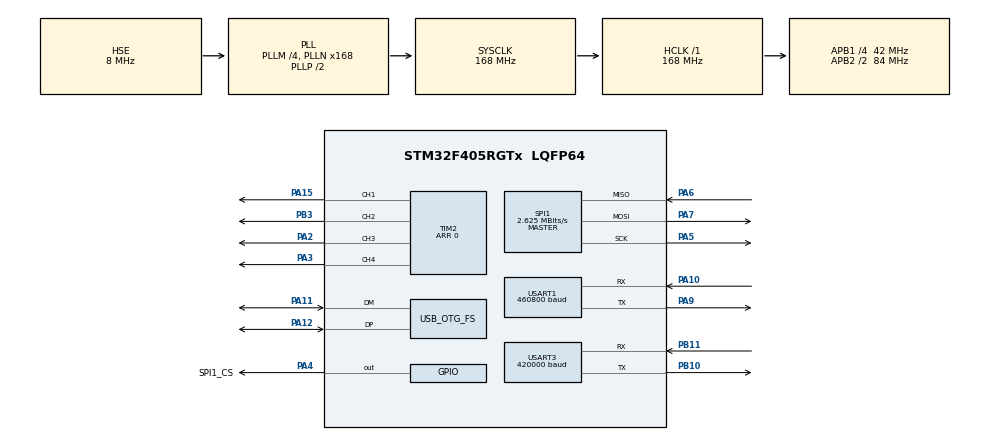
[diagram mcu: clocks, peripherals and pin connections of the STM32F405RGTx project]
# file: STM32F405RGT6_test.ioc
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Dma.Request0=USART1_RX
Dma.Request1=USART1_TX
Dma.Request2=USART3_RX
Dma.Request3=USART3_TX
Dma.USART1_RX.0.Direction=DMA_PERIPH_TO_MEMORY
Dma.USART1_RX.0.FIFOMode=DMA_FIFOMODE_DISABLE
Dma.USART1_RX.0.Instance=DMA2_Stream2
Dma.USART1_RX.0.MemDataAlignment=DMA_MDATAALIGN_BYTE
Dma.USART1_RX.0.MemInc=DMA_MINC_ENABLE
Dma.USART1_RX.0.Mode=DMA_CIRCULAR
Dma.USART1_RX.0.PeriphDataAlignment=DMA_PDATAALIGN_BYTE
Dma.USART1_RX.0.PeriphInc=DMA_PINC_DISABLE
Dma.USART1_RX.0.Priority=DMA_PRIORITY_LOW
Dma.USART1_TX.1.Direction=DMA_MEMORY_TO_PERIPH
Dma.USART1_TX.1.FIFOMode=DMA_FIFOMODE_DISABLE
Dma.USART1_TX.1.Instance=DMA2_Stream7
Dma.USART1_TX.1.MemDataAlignment=DMA_MDATAALIGN_BYTE
Dma.USART1_TX.1.MemInc=DMA_MINC_ENABLE
Dma.USART1_TX.1.Mode=DMA_NORMAL
Dma.USART1_TX.1.PeriphDataAlignment=DMA_PDATAALIGN_BYTE
Dma.USART1_TX.1.PeriphInc=DMA_PINC_DISABLE
Dma.USART1_TX.1.Priority=DMA_PRIORITY_LOW
Dma.USART3_RX.2.Direction=DMA_PERIPH_TO_MEMORY
Dma.USART3_RX.2.FIFOMode=DMA_FIFOMODE_DISABLE
Dma.USART3_RX.2.Instance=DMA1_Stream1
Dma.USART3_RX.2.MemDataAlignment=DMA_MDATAALIGN_BYTE
Dma.USART3_RX.2.MemInc=DMA_MINC_ENABLE
Dma.USART3_RX.2.Mode=DMA_CIRCULAR
Dma.USART3_RX.2.PeriphDataAlignment=DMA_PDATAALIGN_BYTE
Dma.USART3_RX.2.PeriphInc=DMA_PINC_DISABLE
Dma.USART3_RX.2.Priority=DMA_PRIORITY_LOW
Dma.USART3_TX.3.Direction=DMA_MEMORY_TO_PERIPH
Dma.USART3_TX.3.FIFOMode=DMA_FIFOMODE_DISABLE
Dma.USART3_TX.3.Instance=DMA1_Stream3
Dma.USART3_TX.3.MemDataAlignment=DMA_MDATAALIGN_BYTE
Dma.USART3_TX.3.MemInc=DMA_MINC_ENABLE
Dma.USART3_TX.3.Mode=DMA_NORMAL
Dma.USART3_TX.3.PeriphDataAlignment=DMA_PDATAALIGN_BYTE
Dma.USART3_TX.3.PeriphInc=DMA_PINC_DISABLE
Dma.USART3_TX.3.Priority=DMA_PRIORITY_LOW
FREERTOS.HEAP_NUMBER=4
FREERTOS.Tasks01=defaultTask,24,2048,StartDefaultTask,Default,NULL,Static,defaultTaskBuffer,defaultTaskControlBlock
FREERTOS.configCHECK_FOR_STACK_OVERFLOW=2
FREERTOS.configENABLE_FPU=1
FREERTOS.configMAX_TASK_NAME_LEN=64
FREERTOS.configTOTAL_HEAP_SIZE=15360
FREERTOS.configUSE_NEWLIB_REENTRANT=1
Mcu.Family=STM32F4
Mcu.Name=STM32F405RGTx
Mcu.Package=LQFP64
NVIC.DMA1_Stream1_IRQn=true\:5\:0\:false\:false\:true\:true\:false\:true\:true
NVIC.DMA1_Stream3_IRQn=true\:5\:0\:false\:false\:true\:true\:false\:true\:true
NVIC.DMA2_Stream2_IRQn=true\:5\:0\:false\:false\:true\:true\:false\:true\:true
NVIC.DMA2_Stream7_IRQn=true\:5\:0\:false\:false\:true\:true\:false\:true\:true
NVIC.OTG_FS_IRQn=true\:5\:0\:false\:false\:true\:true\:false\:true\:true
NVIC.PriorityGroup=NVIC_PRIORITYGROUP_4
NVIC.TIM4_IRQn=true\:5\:0\:false\:false\:true\:true\:true\:true\:true
NVIC.TIM6_DAC_IRQn=true\:15\:0\:false\:false\:true\:false\:false\:true\:true
NVIC.TimeBase=TIM6_DAC_IRQn
NVIC.TimeBaseIP=TIM6
NVIC.USART1_IRQn=true\:5\:0\:false\:false\:true\:true\:true\:true\:true
NVIC.USART3_IRQn=true\:5\:0\:false\:false\:true\:true\:true\:true\:true
PA10.Mode=Asynchronous
PA10.Signal=USART1_RX
PA11.Mode=Device_Only
PA11.Signal=USB_OTG_FS_DM
PA12.Mode=Device_Only
PA12.Signal=USB_OTG_FS_DP
PA15.GPIO_Speed=GPIO_SPEED_FREQ_MEDIUM
PA15.Signal=S_TIM2_CH1_ETR
PA2.GPIO_Speed=GPIO_SPEED_FREQ_MEDIUM
PA2.Signal=S_TIM2_CH3
PA3.GPIO_Speed=GPIO_SPEED_FREQ_MEDIUM
PA3.Signal=S_TIM2_CH4
PA4.GPIO_Label=SPI1_CS
PA4.Signal=GPIO_Output
PA5.Mode=Full_Duplex_Master
PA5.Signal=SPI1_SCK
PA6.Mode=Full_Duplex_Master
PA6.Signal=SPI1_MISO
PA7.Mode=Full_Duplex_Master
PA7.Signal=SPI1_MOSI
PA9.Mode=Asynchronous
PA9.Signal=USART1_TX
PB10.Mode=Asynchronous
PB10.Signal=USART3_TX
PB11.Mode=Asynchronous
PB11.Signal=USART3_RX
PB3.GPIO_Speed=GPIO_SPEED_FREQ_MEDIUM
PB3.Signal=S_TIM2_CH2
PC14-OSC32_IN.Mode=LSE-External-Oscillator
PC14-OSC32_IN.Signal=RCC_OSC32_IN
PC15-OSC32_OUT.Mode=LSE-External-Oscillator
PC15-OSC32_OUT.Signal=RCC_OSC32_OUT
PH0-OSC_IN.Mode=HSE-External-Oscillator
PH0-OSC_IN.Signal=RCC_OSC_IN
PH1-OSC_OUT.Mode=HSE-External-Oscillator
PH1-OSC_OUT.Signal=RCC_OSC_OUT
ProjectManager.HeapSize=0x200
ProjectManager.StackSize=0x400
ProjectManager.TargetToolchain=STM32CubeIDE
RCC.48MHZClocksFreq_Value=48000000
RCC.AHBFreq_Value=168000000
RCC.APB1CLKDivider=RCC_HCLK_DIV4
RCC.APB1Freq_Value=42000000
RCC.APB1TimFreq_Value=84000000
RCC.APB2CLKDivider=RCC_HCLK_DIV2
RCC.APB2Freq_Value=84000000
RCC.APB2TimFreq_Value=168000000
RCC.CortexFreq_Value=168000000
RCC.HCLKFreq_Value=168000000
RCC.HSE_VALUE=8000000
RCC.HSI_VALUE=16000000
RCC.PLLM=4
RCC.PLLN=168
RCC.PLLQ=7
RCC.SYSCLKFreq_VALUE=168000000
RCC.SYSCLKSource=RCC_SYSCLKSOURCE_PLLCLK
RCC.VCOOutputFreq_Value=336000000
SH.S_TIM2_CH1_ETR.0=TIM2_CH1,PWM Generation1 CH1
SH.S_TIM2_CH2.0=TIM2_CH2,PWM Generation2 CH2
SH.S_TIM2_CH3.0=TIM2_CH3,PWM Generation3 CH3
SH.S_TIM2_CH4.0=TIM2_CH4,PWM Generation4 CH4
SPI1.BaudRatePrescaler=SPI_BAUDRATEPRESCALER_32
SPI1.CLKPhase=SPI_PHASE_2EDGE
SPI1.CLKPolarity=SPI_POLARITY_HIGH
SPI1.CalculateBaudRate=2.625 MBits/s
SPI1.Direction=SPI_DIRECTION_2LINES
SPI1.Mode=SPI_MODE_MASTER
SPI1.VirtualType=VM_MASTER
TIM2.AutoReloadPreload=TIM_AUTORELOAD_PRELOAD_ENABLE
TIM2.Channel-PWM\ Generation1\ CH1=TIM_CHANNEL_1
TIM2.Channel-PWM\ Generation2\ CH2=TIM_CHANNEL_2
TIM2.Channel-PWM\ Generation3\ CH3=TIM_CHANNEL_3
TIM2.Channel-PWM\ Generation4\ CH4=TIM_CHANNEL_4
TIM2.Period=0
TIM4.Period=999
TIM4.Prescaler=83
USART1.BaudRate=460800
USART1.OverSampling=UART_OVERSAMPLING_16
USART1.VirtualMode=VM_ASYNC
USART3.BaudRate=420000
USART3.OverSampling=UART_OVERSAMPLING_16
USART3.VirtualMode=VM_ASYNC
USB_DEVICE.CLASS_NAME_FS=CDC
USB_DEVICE.VirtualMode-CDC_FS=Cdc
USB_DEVICE.VirtualModeFS=Cdc_FS
USB_OTG_FS.VirtualMode=Device_Only
VP_FREERTOS_VS_CMSIS_V2.Mode=CMSIS_V2
VP_SYS_VS_tim6.Mode=TIM6
VP_TIM2_VS_ClockSourceINT.Mode=Internal
VP_TIM4_VS_ClockSourceINT.Mode=Internal
VP_USB_DEVICE_VS_USB_DEVICE_CDC_FS.Mode=CDC_FS
board=custom

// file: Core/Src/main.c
/* USER CODE BEGIN Header */
/**
  ******************************************************************************
  * @file           : main.c
  * @brief          : Main program body
  ******************************************************************************
  * @attention
  *
  * Copyright (c) 2025 STMicroelectronics.
  * All rights reserved.
  *
  * This software is licensed under terms that can be found in the LICENSE file
  * in the root directory of this software component.
  * If no LICENSE file comes with this software, it is provided AS-IS.
  *
  ******************************************************************************
  */
/* USER CODE END Header */
#include "main.h"
#include "cmsis_os.h"
#include "dma.h"
#include "spi.h"
#include "tim.h"
#include "usart.h"
#include "usb_device.h"
#include "gpio.h"

/* USER CODE BEGIN Includes */
#include <stdio.h>
#include "usbd_cdc_if.h"
#include "usart.h"
#include "rtos_flight_controller.h"
/* USER CODE END Includes */

/* USER CODE BEGIN PD */
void dshot_test_sweep(void);

/* USER CODE END PD */

void SystemClock_Config(void);
void MX_FREERTOS_Init(void);
/* USER CODE BEGIN PFP */
int _write(int file, char *data, int len) {
//    static char err_header[] = "ERROR->";
    int sent_size = len;
//    if (file == 2) { // stderror to usb
//        //CDC_Transmit_FS((uint8_t*)err_header, sizeof(err_header) - 1);
//
//    	uart_send_data(&usart1_driver, err_header, sizeof(err_header) - 1);
//    }
    CDC_Transmit_FS((uint8_t*)data, len);
    //uart_send_data(&usart1_driver, data, len);
    return sent_size;
}

int __io_putchar(int ch) {
      char chr = (char)ch;
      uart_send_data(&usart1_driver, &chr, 1);
      return ch;
}

/* USER CODE END PFP */

int main(void)
{

  /* MCU Configuration--------------------------------------------------------*/

  /* Reset of all peripherals, Initializes the Flash interface and the Systick. */
  HAL_Init();

  /* Configure the system clock */
  SystemClock_Config();

  /* Initialize all configured peripherals */
  MX_GPIO_Init();
  MX_DMA_Init();
  MX_SPI1_Init();
  MX_TIM4_Init();
  MX_TIM2_Init();
  MX_USART1_UART_Init();
  MX_USART3_UART_Init();
  /* USER CODE BEGIN 2 */

  //HAL_TIM_PWM_Start(MOTOR_4_TIM, MOTOR_4_TIM_CHANNEL);
  //flight_controller_init_motors();
  //flight_controller_init();
  //HAL_UART_Receive_DMA(&huart1, uart_rx_buffer, UART_RX_BUFFER_SIZE);

  /* USER CODE END 2 */

  /* Init scheduler */
  osKernelInitialize();

  /* Call init function for freertos objects (in cmsis_os2.c) */
  MX_FREERTOS_Init();

  /* Start scheduler */
  osKernelStart();

  /* We should never get here as control is now taken by the scheduler */

  /* Infinite loop */
  /* USER CODE BEGIN WHILE */
  while (1)
  {
	  //dshot_test_sweep();
	  HAL_Delay(1000); // Only runs if scheduler fails
    /* USER CODE END WHILE */

  }
}

void SystemClock_Config(void)
{
  RCC_OscInitTypeDef RCC_OscInitStruct = {0};
  RCC_ClkInitTypeDef RCC_ClkInitStruct = {0};

  /** Configure the main internal regulator output voltage
  */
  __HAL_RCC_PWR_CLK_ENABLE();
  __HAL_PWR_VOLTAGESCALING_CONFIG(PWR_REGULATOR_VOLTAGE_SCALE1);

  /** Initializes the RCC Oscillators according to the specified parameters
  * in the RCC_OscInitTypeDef structure.
  */
  RCC_OscInitStruct.OscillatorType = RCC_OSCILLATORTYPE_HSE;
  RCC_OscInitStruct.HSEState = RCC_HSE_ON;
  RCC_OscInitStruct.PLL.PLLState = RCC_PLL_ON;
  RCC_OscInitStruct.PLL.PLLSource = RCC_PLLSOURCE_HSE;
  RCC_OscInitStruct.PLL.PLLM = 4;
  RCC_OscInitStruct.PLL.PLLN = 168;
  RCC_OscInitStruct.PLL.PLLP = RCC_PLLP_DIV2;
  RCC_OscInitStruct.PLL.PLLQ = 7;
  if (HAL_RCC_OscConfig(&RCC_OscInitStruct) != HAL_OK)
  {
    Error_Handler();
  }

  /** Initializes the CPU, AHB and APB buses clocks
  */
  RCC_ClkInitStruct.ClockType = RCC_CLOCKTYPE_HCLK|RCC_CLOCKTYPE_SYSCLK
                              |RCC_CLOCKTYPE_PCLK1|RCC_CLOCKTYPE_PCLK2;
  RCC_ClkInitStruct.SYSCLKSource = RCC_SYSCLKSOURCE_PLLCLK;
  RCC_ClkInitStruct.AHBCLKDivider = RCC_SYSCLK_DIV1;
  RCC_ClkInitStruct.APB1CLKDivider = RCC_HCLK_DIV4;
  RCC_ClkInitStruct.APB2CLKDivider = RCC_HCLK_DIV2;

  if (HAL_RCC_ClockConfig(&RCC_ClkInitStruct, FLASH_LATENCY_5) != HAL_OK)
  {
    Error_Handler();
  }
}

void HAL_TIM_PeriodElapsedCallback(TIM_HandleTypeDef *htim)
{
  if (htim->Instance == TIM6)
  {
    HAL_IncTick();
  }
  /* USER CODE BEGIN Callback 1 */
  else if(htim == &htim4){
		//flight_controller_loop();
	}
  /* USER CODE END Callback 1 */
}

void Error_Handler(void)
{
  __disable_irq();
  while (1)
  {
  }
}

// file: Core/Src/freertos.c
/* USER CODE BEGIN Header */
/**
  ******************************************************************************
  * File Name          : freertos.c
  * Description        : Code for freertos applications
  ******************************************************************************
  * @attention
  *
  * Copyright (c) 2025 STMicroelectronics.
  * All rights reserved.
  *
  * This software is licensed under terms that can be found in the LICENSE file
  * in the root directory of this software component.
  * If no LICENSE file comes with this software, it is provided AS-IS.
  *
  ******************************************************************************
  */
/* USER CODE END Header */

#include "FreeRTOS.h"
#include "task.h"
#include "main.h"
#include "cmsis_os.h"

/* USER CODE BEGIN Includes */
#include "usart.h"
#include "main.h"
#include <stdio.h>
#include "geometry2D.h"
#include "string.h"
#include "atomic_custom.h"
#include "rtos_flight_controller.h"
#include "esc_pwm.h"
#include "tim.h"
/* USER CODE END Includes */

typedef StaticTask_t osStaticThreadDef_t;

/* Definitions for defaultTask */
osThreadId_t defaultTaskHandle;
uint32_t defaultTaskBuffer[ 2048 ];
osStaticThreadDef_t defaultTaskControlBlock;
const osThreadAttr_t defaultTask_attributes = {
  .name = "defaultTask",
  .cb_mem = &defaultTaskControlBlock,
  .cb_size = sizeof(defaultTaskControlBlock),
  .stack_mem = &defaultTaskBuffer[0],
  .stack_size = sizeof(defaultTaskBuffer),
  .priority = (osPriority_t) osPriorityNormal,
};

void StartDefaultTask(void *argument);

extern void MX_USB_DEVICE_Init(void);
void MX_FREERTOS_Init(void); /* (MISRA C 2004 rule 8.1) */

/* Hook prototypes */
void vApplicationStackOverflowHook(xTaskHandle xTask, signed char *pcTaskName);

/* USER CODE BEGIN 4 */
void vApplicationStackOverflowHook(xTaskHandle xTask, signed char *pcTaskName)
{
   /* Run time stack overflow checking is performed if
   configCHECK_FOR_STACK_OVERFLOW is defined to 1 or 2. This hook function is
   called if a stack overflow is detected. */
    taskDISABLE_INTERRUPTS();
    for( ;; );
}

/* USER CODE END 4 */

void MX_FREERTOS_Init(void) {

  /* Create the thread(s) */
  /* creation of defaultTask */
  defaultTaskHandle = osThreadNew(StartDefaultTask, NULL, &defaultTask_attributes);

}

void StartDefaultTask(void *argument)
{
  /* init code for USB_DEVICE */
  MX_USB_DEVICE_Init();
  /* USER CODE BEGIN StartDefaultTask */
  app_main_start(NULL);
  /* Infinite loop */
  for(;;)
  {
    osDelay(pdMS_TO_TICKS(1000));
  }
  /* USER CODE END StartDefaultTask */
}
